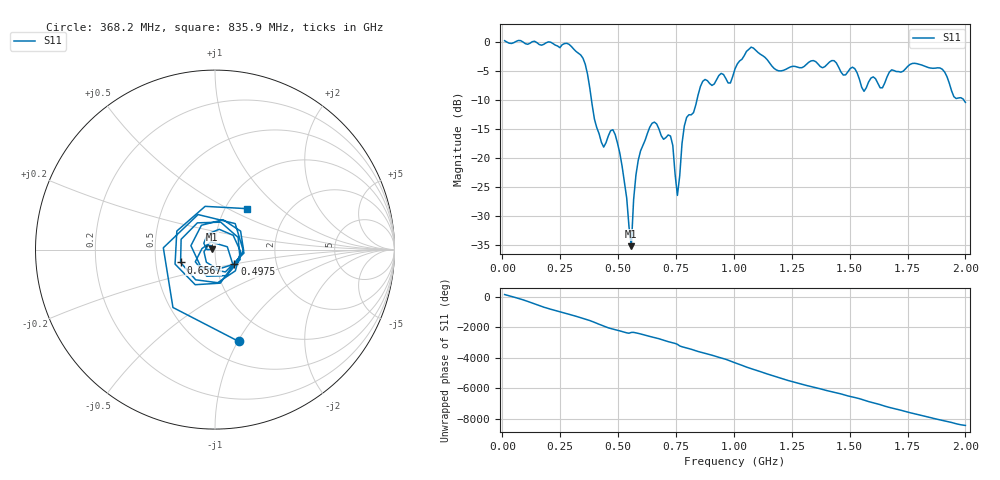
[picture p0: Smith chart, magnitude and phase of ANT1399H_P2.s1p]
!Created with skrf (http://scikit-rf.org).
# Hz S RI R 50.0
!freq ReS11 ImS11
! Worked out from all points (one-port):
!   201 points, 10 MHz to 2 GHz, reference 50 ohm
!   lowest |S11| = -35.1 dB at 557.2 MHz (marker M1), VSWR 1.04, Z = 48.3 + j0.0645 ohm
!   |S11| at or under -10 dB: 385.2 MHz to 840.4 MHz (455.2 MHz wide, 74.3 % of centre); 1.99349 GHz to end of sweep
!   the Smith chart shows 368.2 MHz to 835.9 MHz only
!   S11 on the Smith chart (normalised r, x): 368.2 MHz: 0.71, -1.01; 497.6 MHz: 1.23, -0.20; 656.8 MHz: 0.67, -0.10; 835.9 MHz: 1.26, +0.63
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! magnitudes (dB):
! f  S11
! 10 MHz  0.2
! 258.8 MHz  -0.5
! 338.4 MHz  -2.2
! 368.2 MHz  -5.5
! 398.1 MHz  -13.3
! 427.9 MHz  -17.2
! 477.6 MHz  -15.1
! 497.6 MHz  -17.4
! 507.5 MHz  -19.1
! 557.2 MHz  -35.1
! 567.2 MHz  -27.1
! 587.1 MHz  -20.3
! 656.8 MHz  -13.8
! 726.4 MHz  -16.2
! 756.2 MHz  -26.4
! 786.1 MHz  -14.5
! 835.9 MHz  -10.8
! 865.7 MHz  -6.8
! 985.1 MHz  -7.0
! 1.005 GHz  -4.6
! 1.075 GHz  -0.9
! 1.184 GHz  -4.8
! 1.254 GHz  -4.2
! 1.502 GHz  -4.6
! 1.562 GHz  -8.5
! 1.751 GHz  -4.2
! 1.901 GHz  -4.7
! 2 GHz  -10.4
